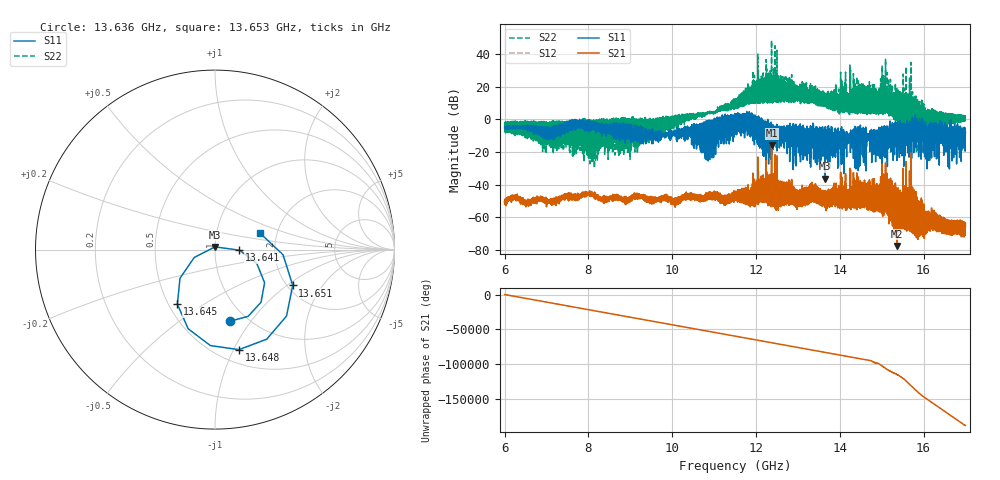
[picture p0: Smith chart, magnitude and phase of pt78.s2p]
#  HZ  S  RI  R  50.00
! Rohde & Schwarz Vector Network Analyzer
! Rohde-Schwarz,ZNA67-2Port,1332450062101215,3.01
! Created: UTC 10/19/2026, 9:36:53 AM
! freq[Hz]  re:S11  im:S11  re:S21  im:S21  re:S12  im:S12  re:S22  im:S22
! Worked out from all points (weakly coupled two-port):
!   11001 points, 6 GHz to 17 GHz, reference 50 ohm
!   highest |S21| = -16.01 dB at 12.373 GHz (marker M1); lowest = -77.6 dB at 15.365 GHz (marker M2)
!   lowest |S11| = -36.4 dB at 13.642 GHz (marker M3), VSWR 1.03, Z = 50 + j1.52 ohm
!   |S11| at or under -10 dB: 14.1751 GHz to 14.21137 GHz (36.27 MHz wide, 0.256 % of centre); 14.51104 GHz to 14.54515 GHz (34.12 MHz wide, 0.235 % of centre); 16.58591 GHz to 16.6208 GHz (34.89 MHz wide, 0.21 % of centre) (the widest 3 of 621)
!   |S22| runs from -29.9 to 48.3 dB; largest |S21 - S12| = 0.013
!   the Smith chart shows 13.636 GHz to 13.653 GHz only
!   S11 on the Smith chart (normalised r, x): 13.636 GHz: 0.84, -0.80; 13.641 GHz: 1.31, -0.01; 13.645 GHz: 0.56, -0.39; 13.648 GHz: 0.63, -1.05; 13.651 GHz: 2.14, -1.10; 13.653 GHz: 1.62, +0.33
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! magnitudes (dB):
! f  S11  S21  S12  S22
! 6 GHz  -5.2  -50.5  -50.5  -4.5
! 7.09 GHz  -5.4  -50.2  -50.1  -3.6
! 7.834 GHz  -2.8  -45.7  -45.6  -1.4
! 9.667 GHz  -7.2  -49.4  -49.6  0.6
! 10.738 GHz  -2.4  -49.9  -49.8  2.9
! 11.5 GHz  3.2  -47.1  -47.4  8.4
! 11.799 GHz  -9.9  -42.9  -42.8  20.4
! 12.373 GHz  -22.1  -16.0  -16.2  48.3
! 13.334 GHz  -10.0  -49.1  -49.2  13.1
! 13.636 GHz  -7.8  -47.2  -47.1  14.2
! 13.641 GHz  -17.3  -51.2  -50.9  9.5
! 13.642 GHz  -36.4  -48.3  -48.5  12.0
! 13.645 GHz  -8.6  -50.3  -50.3  10.2
! 13.648 GHz  -4.8  -46.1  -46.2  15.2
! 13.651 GHz  -6.4  -54.1  -54.3  8.1
! 13.653 GHz  -11.5  -50.0  -49.9  9.5
! 15.167 GHz  -10.6  -51.6  -51.3  7.0
! 15.365 GHz  -17.5  -77.6  -77.7  -0.2
! 15.675 GHz  -1.3  -55.2  -55.3  2.1
! 15.784 GHz  -16.9  -45.4  -45.5  13.9
! 16.104 GHz  -13.5  -59.9  -59.6  2.8
! 17 GHz  -7.9  -65.8  -65.9  1.6
